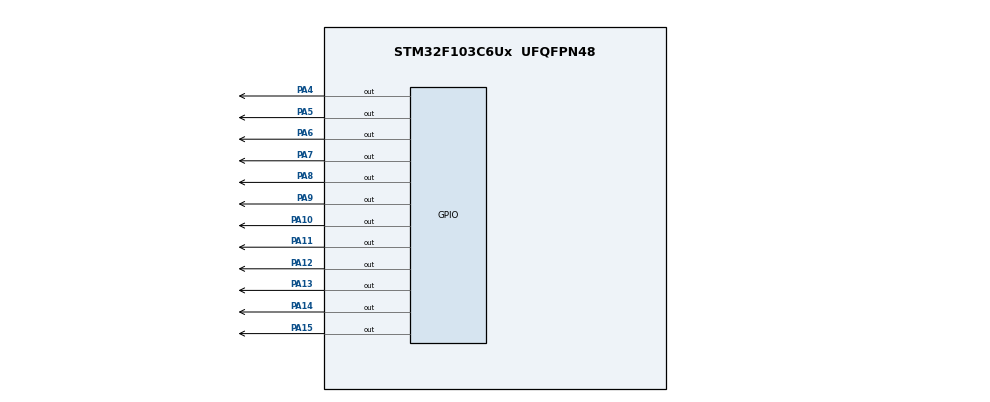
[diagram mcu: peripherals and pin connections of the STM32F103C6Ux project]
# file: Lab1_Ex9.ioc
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Mcu.Family=STM32F1
Mcu.Name=STM32F103C6Ux
Mcu.Package=UFQFPN48
NVIC.PriorityGroup=NVIC_PRIORITYGROUP_4
PA10.Signal=GPIO_Output
PA11.Signal=GPIO_Output
PA12.Signal=GPIO_Output
PA13.Signal=GPIO_Output
PA14.Signal=GPIO_Output
PA15.Signal=GPIO_Output
PA4.Signal=GPIO_Output
PA5.Signal=GPIO_Output
PA6.Signal=GPIO_Output
PA7.Signal=GPIO_Output
PA8.Signal=GPIO_Output
PA9.Signal=GPIO_Output
ProjectManager.HeapSize=0x200
ProjectManager.StackSize=0x400
ProjectManager.TargetToolchain=STM32CubeIDE
RCC.APB1Freq_Value=8000000
RCC.APB2Freq_Value=8000000
VP_SYS_VS_ND.Mode=No_Debug
board=custom

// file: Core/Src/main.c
/* USER CODE BEGIN Header */
/**
  ******************************************************************************
  * @file           : main.c
  * @brief          : Main program body
  ******************************************************************************
  * @attention
  *
  * <h2><center>&copy; Copyright (c) 2026 STMicroelectronics.
  * All rights reserved.</center></h2>
  *
  * This software component is licensed by ST under BSD 3-Clause license,
  * the "License"; You may not use this file except in compliance with the
  * License. You may obtain a copy of the License at:
  *                        opensource.org/licenses/BSD-3-Clause
  *
  ******************************************************************************
  */
/* USER CODE END Header */
#include "main.h"

void SystemClock_Config(void);
static void MX_GPIO_Init(void);

/* USER CODE BEGIN 0 */
void display7SEG(int num);
void updateClockBuffer(void);
void displayLED(int index);

void clearAllClock(void) {
    HAL_GPIO_WritePin(GPIOA, GPIO_PIN_4  | GPIO_PIN_5  | GPIO_PIN_6  | GPIO_PIN_7  |
                             GPIO_PIN_8  | GPIO_PIN_9  | GPIO_PIN_10 | GPIO_PIN_11 |
                             GPIO_PIN_12 | GPIO_PIN_13 | GPIO_PIN_14 | GPIO_PIN_15,
                             GPIO_PIN_RESET);
}

void setAllClock(void) {
    HAL_GPIO_WritePin(GPIOA, GPIO_PIN_0  | GPIO_PIN_1  | GPIO_PIN_2  | GPIO_PIN_3  |
                             GPIO_PIN_4  | GPIO_PIN_5  | GPIO_PIN_6  | GPIO_PIN_7  |
                             GPIO_PIN_8  | GPIO_PIN_9  | GPIO_PIN_10 | GPIO_PIN_11 |
                             GPIO_PIN_12 | GPIO_PIN_13 | GPIO_PIN_14 | GPIO_PIN_15,
                             GPIO_PIN_SET);
}

void clearNumberOnClock(int num) {
    switch (num) {
        case 0:
            HAL_GPIO_WritePin(GPIOA, GPIO_PIN_4, GPIO_PIN_RESET);
            break;
        case 1:
            HAL_GPIO_WritePin(GPIOA, GPIO_PIN_5, GPIO_PIN_RESET);
            break;
        case 2:
            HAL_GPIO_WritePin(GPIOA, GPIO_PIN_6, GPIO_PIN_RESET);
            break;
        case 3:
            HAL_GPIO_WritePin(GPIOA, GPIO_PIN_7, GPIO_PIN_RESET);
            break;
        case 4:
            HAL_GPIO_WritePin(GPIOA, GPIO_PIN_8, GPIO_PIN_RESET);
            break;
        case 5:
            HAL_GPIO_WritePin(GPIOA, GPIO_PIN_9, GPIO_PIN_RESET);
            break;
        case 6:
            HAL_GPIO_WritePin(GPIOA, GPIO_PIN_10, GPIO_PIN_RESET);
            break;
        case 7:
            HAL_GPIO_WritePin(GPIOA, GPIO_PIN_11, GPIO_PIN_RESET);
            break;
        case 8:
            HAL_GPIO_WritePin(GPIOA, GPIO_PIN_12, GPIO_PIN_RESET);
            break;
        case 9:
            HAL_GPIO_WritePin(GPIOA, GPIO_PIN_13, GPIO_PIN_RESET);
            break;
        case 10:
            HAL_GPIO_WritePin(GPIOA, GPIO_PIN_14, GPIO_PIN_RESET);
            break;
        case 11:
            HAL_GPIO_WritePin(GPIOA, GPIO_PIN_15, GPIO_PIN_RESET);
            break;
        default:
            break;
    }
}
/* USER CODE END 0 */

int main(void)
{

  /* MCU Configuration--------------------------------------------------------*/

  /* Reset of all peripherals, Initializes the Flash interface and the Systick. */
  HAL_Init();

  /* Configure the system clock */
  SystemClock_Config();

  /* Initialize all configured peripherals */
  MX_GPIO_Init();

  /* Infinite loop */
  while (1)
    {

      /* USER CODE BEGIN 3 */
      setAllClock();
      HAL_Delay(1000);

      for (int i = 0; i < 12; i++) {
          clearNumberOnClock(i);
          HAL_Delay(500);
      }

      HAL_Delay(1000);

    }
  /* USER CODE END 3 */
}

void SystemClock_Config(void)
{
  RCC_OscInitTypeDef RCC_OscInitStruct = {0};
  RCC_ClkInitTypeDef RCC_ClkInitStruct = {0};

  /** Initializes the RCC Oscillators according to the specified parameters
  * in the RCC_OscInitTypeDef structure.
  */
  RCC_OscInitStruct.OscillatorType = RCC_OSCILLATORTYPE_HSI;
  RCC_OscInitStruct.HSIState = RCC_HSI_ON;
  RCC_OscInitStruct.HSICalibrationValue = RCC_HSICALIBRATION_DEFAULT;
  RCC_OscInitStruct.PLL.PLLState = RCC_PLL_NONE;
  if (HAL_RCC_OscConfig(&RCC_OscInitStruct) != HAL_OK)
  {
    Error_Handler();
  }
  /** Initializes the CPU, AHB and APB buses clocks
  */
  RCC_ClkInitStruct.ClockType = RCC_CLOCKTYPE_HCLK|RCC_CLOCKTYPE_SYSCLK
                              |RCC_CLOCKTYPE_PCLK1|RCC_CLOCKTYPE_PCLK2;
  RCC_ClkInitStruct.SYSCLKSource = RCC_SYSCLKSOURCE_HSI;
  RCC_ClkInitStruct.AHBCLKDivider = RCC_SYSCLK_DIV1;
  RCC_ClkInitStruct.APB1CLKDivider = RCC_HCLK_DIV1;
  RCC_ClkInitStruct.APB2CLKDivider = RCC_HCLK_DIV1;

  if (HAL_RCC_ClockConfig(&RCC_ClkInitStruct, FLASH_LATENCY_0) != HAL_OK)
  {
    Error_Handler();
  }
}

static void MX_GPIO_Init(void)
{
  GPIO_InitTypeDef GPIO_InitStruct = {0};

  /* GPIO Ports Clock Enable */
  __HAL_RCC_GPIOA_CLK_ENABLE();

  /*Configure GPIO pin Output Level */
  HAL_GPIO_WritePin(GPIOA, GPIO_PIN_4|GPIO_PIN_5|GPIO_PIN_6|GPIO_PIN_7
                          |GPIO_PIN_8|GPIO_PIN_9|GPIO_PIN_10|GPIO_PIN_11
                          |GPIO_PIN_12|GPIO_PIN_13|GPIO_PIN_14|GPIO_PIN_15, GPIO_PIN_RESET);

  /*Configure GPIO pins : PA4 PA5 PA6 PA7
                           PA8 PA9 PA10 PA11
                           PA12 PA13 PA14 PA15 */
  GPIO_InitStruct.Pin = GPIO_PIN_4|GPIO_PIN_5|GPIO_PIN_6|GPIO_PIN_7
                          |GPIO_PIN_8|GPIO_PIN_9|GPIO_PIN_10|GPIO_PIN_11
                          |GPIO_PIN_12|GPIO_PIN_13|GPIO_PIN_14|GPIO_PIN_15;
  GPIO_InitStruct.Mode = GPIO_MODE_OUTPUT_PP;
  GPIO_InitStruct.Pull = GPIO_NOPULL;
  GPIO_InitStruct.Speed = GPIO_SPEED_FREQ_LOW;
  HAL_GPIO_Init(GPIOA, &GPIO_InitStruct);

}

void Error_Handler(void)
{
  /* USER CODE BEGIN Error_Handler_Debug */
  /* User can add his own implementation to report the HAL error return state */
  __disable_irq();
  while (1)
    {
      /* USER CODE END WHILE */

      /* USER CODE BEGIN 3 */
    }
    /* USER CODE END 3 */
  /* USER CODE END Error_Handler_Debug */
}

/************************ (C) COPYRIGHT STMicroelectronics *****END OF FILE****/
